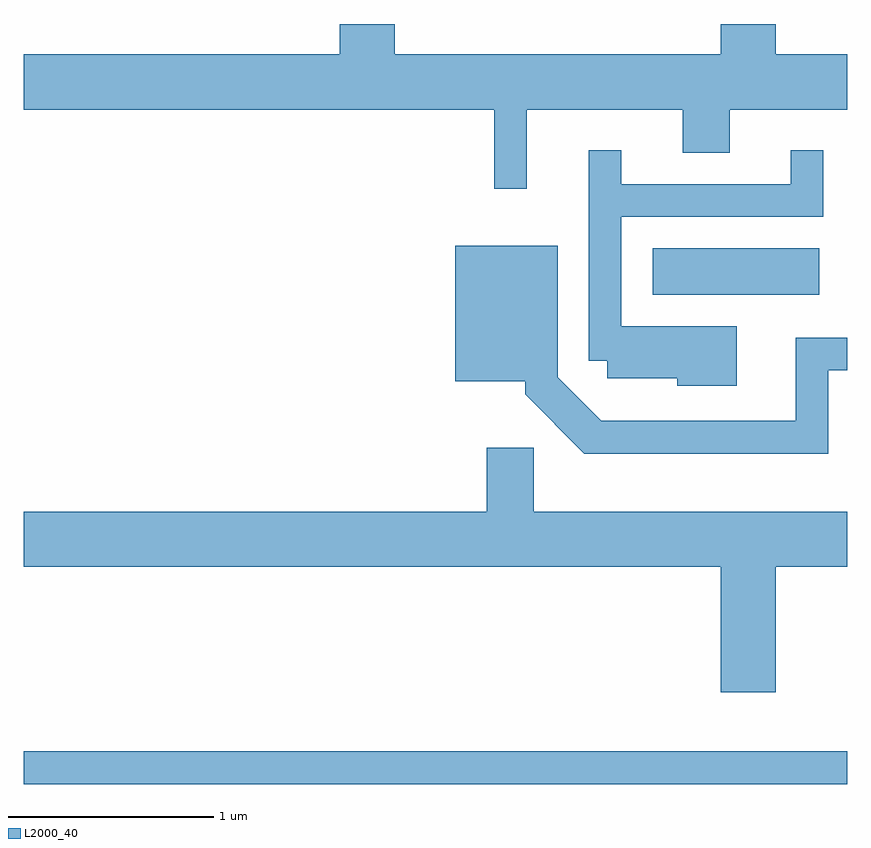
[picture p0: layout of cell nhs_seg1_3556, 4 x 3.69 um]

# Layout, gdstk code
import gdstk
lib = gdstk.Library(unit=1e-6, precision=1e-09)
def R(c, l, rs):  # rectangles x0, y0, x1, y1
    for r in rs: c.add(gdstk.rectangle(r[:2], r[2:], *l))
def P(c, l, *ps):  # polygons
    for p in ps: c.add(gdstk.Polygon(p, *l))
L2000_40 = (2000, 40)

nhs_seg1_3556 = lib.new_cell('nhs_seg1_3556')
R(nhs_seg1_3556, L2000_40, [(291.611,954.021,295.611,954.179), (294.666,956.396,295.474,956.624)])
P(nhs_seg1_3556, L2000_40, [(294.054,957.296),(294.811,957.296),(294.811,957.086),(295.039,957.086),(295.039,957.296),(295.611,957.296),(295.611,957.564),(295.264,957.564),(295.264,957.712),(294.996,957.712),(294.996,957.564),(293.414,957.564),(293.414,957.712),(293.146,957.712),(293.146,957.564),(291.611,957.564),(291.611,957.296),(293.896,957.296),(293.896,956.913),(294.054,956.913)],
  [(295.074,956.244),(294.514,956.244),(294.514,956.776),(295.494,956.776),(295.494,957.098),(295.336,957.098),(295.336,956.934),(294.514,956.934),(294.514,957.098),(294.356,957.098),(294.356,956.076),(294.446,956.076),(294.446,955.991),(294.786,955.991),(294.786,955.956),(295.074,955.956)],
  [(295.519,956.031),(295.611,956.031),(295.611,956.189),(295.361,956.189),(295.361,955.784),(294.417,955.784),(294.204,955.997),(294.204,956.634),(293.706,956.634),(293.706,955.976),(294.046,955.976),(294.046,955.914),(294.334,955.626),(295.519,955.626)],
  [(295.264,955.076),(295.611,955.076),(295.611,955.344),(294.089,955.344),(294.089,955.654),(293.861,955.654),(293.861,955.344),(291.611,955.344),(291.611,955.076),(294.996,955.076),(294.996,954.466),(295.264,954.466)])

lib.write_gds('nhs_seg1_3556.gds')
